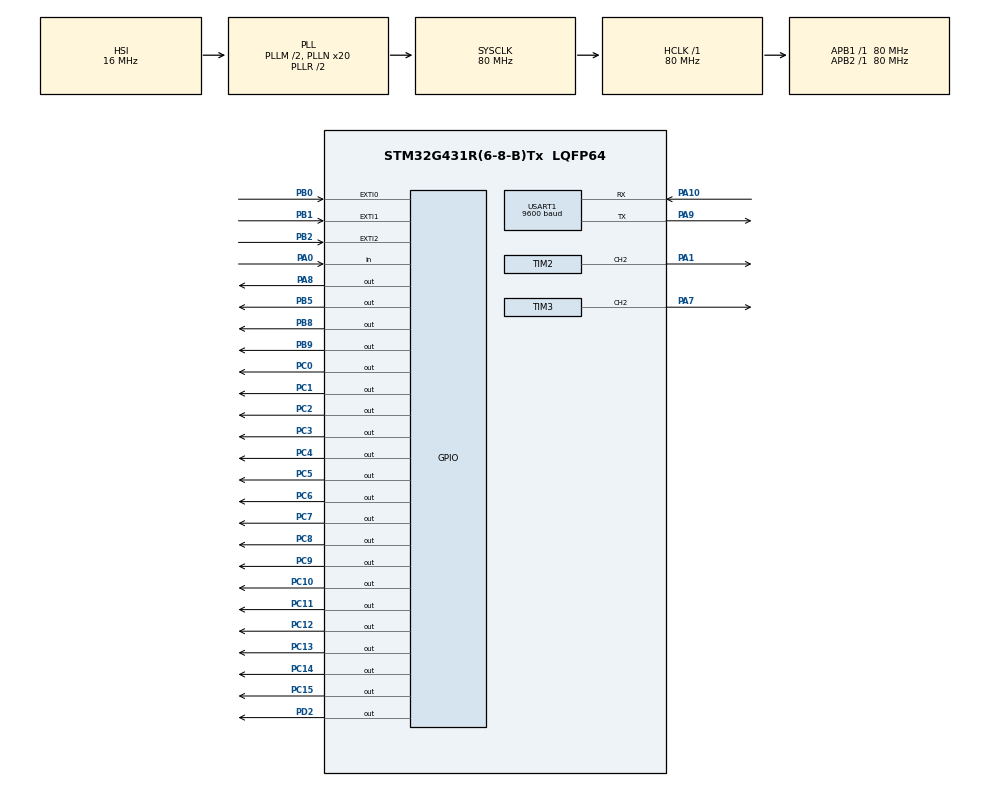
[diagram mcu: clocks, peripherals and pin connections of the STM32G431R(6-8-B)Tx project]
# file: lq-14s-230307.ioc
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Dma.Request0=USART1_RX
Dma.USART1_RX.0.Direction=DMA_PERIPH_TO_MEMORY
Dma.USART1_RX.0.EventEnable=DISABLE
Dma.USART1_RX.0.Instance=DMA1_Channel1
Dma.USART1_RX.0.MemDataAlignment=DMA_MDATAALIGN_BYTE
Dma.USART1_RX.0.MemInc=DMA_MINC_ENABLE
Dma.USART1_RX.0.Mode=DMA_NORMAL
Dma.USART1_RX.0.PeriphDataAlignment=DMA_PDATAALIGN_BYTE
Dma.USART1_RX.0.PeriphInc=DMA_PINC_DISABLE
Dma.USART1_RX.0.Polarity=HAL_DMAMUX_REQ_GEN_RISING
Dma.USART1_RX.0.Priority=DMA_PRIORITY_LOW
Dma.USART1_RX.0.RequestNumber=1
Dma.USART1_RX.0.SignalID=NONE
Dma.USART1_RX.0.SyncEnable=DISABLE
Dma.USART1_RX.0.SyncPolarity=HAL_DMAMUX_SYNC_NO_EVENT
Dma.USART1_RX.0.SyncRequestNumber=1
Dma.USART1_RX.0.SyncSignalID=NONE
Mcu.Family=STM32G4
Mcu.Name=STM32G431R(6-8-B)Tx
Mcu.Package=LQFP64
NVIC.DMA1_Channel1_IRQn=true\:0\:0\:false\:false\:true\:false\:true\:true
NVIC.EXTI0_IRQn=true\:2\:0\:true\:false\:true\:true\:true\:true
NVIC.EXTI1_IRQn=true\:2\:0\:true\:false\:true\:true\:true\:true
NVIC.EXTI2_IRQn=true\:2\:0\:true\:false\:true\:true\:true\:true
NVIC.PriorityGroup=NVIC_PRIORITYGROUP_4
NVIC.USART1_IRQn=true\:0\:0\:false\:false\:true\:true\:true\:true
PA0.Signal=GPIO_Input
PA1.Signal=S_TIM2_CH2
PA10.Mode=Asynchronous
PA10.Signal=USART1_RX
PA7.Signal=S_TIM3_CH2
PA8.Signal=GPIO_Output
PA9.Mode=Asynchronous
PA9.Signal=USART1_TX
PB0.Signal=GPXTI0
PB1.Signal=GPXTI1
PB2.Signal=GPXTI2
PB5.Signal=GPIO_Output
PB8-BOOT0.Signal=GPIO_Output
PB9.Signal=GPIO_Output
PC0.Signal=GPIO_Output
PC1.Signal=GPIO_Output
PC10.Signal=GPIO_Output
PC11.Signal=GPIO_Output
PC12.Signal=GPIO_Output
PC13.Signal=GPIO_Output
PC14-OSC32_IN.Signal=GPIO_Output
PC15-OSC32_OUT.Signal=GPIO_Output
PC2.Signal=GPIO_Output
PC3.Signal=GPIO_Output
PC4.Signal=GPIO_Output
PC5.Signal=GPIO_Output
PC6.Signal=GPIO_Output
PC7.Signal=GPIO_Output
PC8.Signal=GPIO_Output
PC9.Signal=GPIO_Output
PD2.Signal=GPIO_Output
PF0-OSC_IN.Mode=HSE-External-Oscillator
PF0-OSC_IN.Signal=RCC_OSC_IN
PF1-OSC_OUT.Mode=HSE-External-Oscillator
PF1-OSC_OUT.Signal=RCC_OSC_OUT
ProjectManager.HeapSize=0x200
ProjectManager.StackSize=0x400
ProjectManager.TargetToolchain=MDK-ARM V5.27
RCC.ADC12Freq_Value=80000000
RCC.AHBFreq_Value=80000000
RCC.APB1Freq_Value=80000000
RCC.APB1TimFreq_Value=80000000
RCC.APB2Freq_Value=80000000
RCC.APB2TimFreq_Value=80000000
RCC.CortexFreq_Value=80000000
RCC.EXTERNAL_CLOCK_VALUE=12288000
RCC.HCLKFreq_Value=80000000
RCC.HSE_VALUE=24000000
RCC.HSI48_VALUE=48000000
RCC.HSI_VALUE=16000000
RCC.LSE_VALUE=32768
RCC.PLLM=RCC_PLLM_DIV2
RCC.PLLN=20
RCC.SYSCLKFreq_VALUE=80000000
RCC.SYSCLKSource=RCC_SYSCLKSOURCE_PLLCLK
RCC.USBFreq_Value=80000000
RCC.VCOOutputFreq_Value=160000000
SH.S_TIM2_CH2.0=TIM2_CH2,PWM Generation2 CH2
SH.S_TIM3_CH2.0=TIM3_CH2,PWM Generation2 CH2
TIM2.AutoReloadPreload=TIM_AUTORELOAD_PRELOAD_ENABLE
TIM2.Channel-PWM\ Generation2\ CH2=TIM_CHANNEL_2
TIM2.PeriodNoDither=999
TIM2.Prescaler=79
TIM2.PulseNoDither_2=99
TIM3.AutoReloadPreload=TIM_AUTORELOAD_PRELOAD_ENABLE
TIM3.Channel-PWM\ Generation2\ CH2=TIM_CHANNEL_2
TIM3.PeriodNoDither=999
TIM3.Prescaler=79
TIM3.PulseNoDither_2=99
USART1.BaudRate=9600
USART1.VirtualMode-Asynchronous=VM_ASYNC
VP_SYS_VS_DBSignals.Mode=DisableDeadBatterySignals
VP_TIM2_VS_ClockSourceINT.Mode=Internal
VP_TIM3_VS_ClockSourceINT.Mode=Internal
board=custom

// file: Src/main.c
/* USER CODE BEGIN Header */
/**
  ******************************************************************************
  * @file		   : main.c
  * @brief		  : Main program body
  ******************************************************************************
  * @attention
  *
  * Copyright (c) 2023 STMicroelectronics.
  * All rights reserved.
  *
  * This software is licensed under terms that can be found in the LICENSE file
  * in the root directory of this software component.
  * If no LICENSE file comes with this software, it is provided AS-IS.
  *
  ******************************************************************************
  */
/* USER CODE END Header */
#include "main.h"
#include "dma.h"
#include "tim.h"
#include "usart.h"
#include "gpio.h"

/* USER CODE BEGIN Includes */
#include <stdio.h>
#include <stdbool.h>
#include <stdarg.h>
#include <stdlib.h>
#include <string.h>
#include "lcd.h"
/* USER CODE END Includes */

/* USER CODE BEGIN PM */
#define lds(x, s) \
	HAL_GPIO_WritePin(GPIOC, 0x0080 << x, s); \
	HAL_GPIO_WritePin(GPIOD, GPIO_PIN_2, GPIO_PIN_SET); \
	HAL_GPIO_WritePin(GPIOD, GPIO_PIN_2, GPIO_PIN_RESET)

#define psetf(f_kHz) \
	__HAL_TIM_SetAutoreload((pin7) ? &htim3 : &htim2, 1000 / f_kHz)

#define psetd(dx10) \
	__HAL_TIM_SetCompare((pin7) ? &htim3 : &htim2, TIM_CHANNEL_2, __HAL_TIM_GetAutoreload((pin7) ? &htim3 : &htim2) * dx10 / 10)

#define dsp(ln, str) \
	LCD_DisplayStringLine(ln * 24, (uint8_t *)str);

/* USER CODE END PM */

/* USER CODE BEGIN PV */
bool 		serial	= false;
bool	 	pin7	= false;
uint8_t 	buf[32]	= {0};
uint8_t		rxBuf	= 0;
uint8_t		f1		= 1;
uint8_t		f7		= 1;
uint8_t 	d1		= 1;
uint8_t		d7		= 1;
uint32_t	b4		= 0xFFFFFFFF;

/* USER CODE END PV */

void SystemClock_Config(void);
/* USER CODE BEGIN PFP */
void render();
void dspf(uint8_t ln, char *fmt, ...);
/* USER CODE END PFP */

int main(void)
{

  /* MCU Configuration--------------------------------------------------------*/

  /* Reset of all peripherals, Initializes the Flash interface and the Systick. */
  HAL_Init();

  /* Configure the system clock */
  SystemClock_Config();

  /* Initialize all configured peripherals */
  MX_GPIO_Init();
  MX_DMA_Init();
  MX_TIM2_Init();
  MX_TIM3_Init();
  MX_USART1_UART_Init();
  /* USER CODE BEGIN 2 */

	lds(1, 0);
	lds(2, 0);
	lds(3, 0);
	lds(4, 0);
	lds(5, 0);
	lds(6, 0);
	lds(7, 0);
	lds(8, 0);

	HAL_TIM_PWM_Start(&htim2, TIM_CHANNEL_2);
	HAL_TIM_PWM_Start(&htim3, TIM_CHANNEL_2);

	HAL_UART_Receive_DMA(&huart1, &rxBuf, 1);

	LCD_Init();
	LCD_SetBackColor(Black);
	LCD_SetTextColor(White);
	render();

	//printf("Init complete!\n");

  /* USER CODE END 2 */

  /* Infinite loop */
  /* USER CODE BEGIN WHILE */
  static bool	b4dwn = true;
  while (1)
  {
	  //__ASM("BKPT 0xAB");
	  //dspf(7, "%d", b4dwn);
	  if(b4dwn && !b4) {
		  b4dwn = false;
		  serial = !serial;
	  }
	  else b4dwn |= !~b4;
    /* USER CODE END WHILE */

  }
}

void SystemClock_Config(void)
{
  RCC_OscInitTypeDef RCC_OscInitStruct = {0};
  RCC_ClkInitTypeDef RCC_ClkInitStruct = {0};

  /** Configure the main internal regulator output voltage
  */
  HAL_PWREx_ControlVoltageScaling(PWR_REGULATOR_VOLTAGE_SCALE1);

  /** Initializes the RCC Oscillators according to the specified parameters
  * in the RCC_OscInitTypeDef structure.
  */
  RCC_OscInitStruct.OscillatorType = RCC_OSCILLATORTYPE_HSI;
  RCC_OscInitStruct.HSIState = RCC_HSI_ON;
  RCC_OscInitStruct.HSICalibrationValue = RCC_HSICALIBRATION_DEFAULT;
  RCC_OscInitStruct.PLL.PLLState = RCC_PLL_ON;
  RCC_OscInitStruct.PLL.PLLSource = RCC_PLLSOURCE_HSI;
  RCC_OscInitStruct.PLL.PLLM = RCC_PLLM_DIV2;
  RCC_OscInitStruct.PLL.PLLN = 20;
  RCC_OscInitStruct.PLL.PLLP = RCC_PLLP_DIV2;
  RCC_OscInitStruct.PLL.PLLQ = RCC_PLLQ_DIV2;
  RCC_OscInitStruct.PLL.PLLR = RCC_PLLR_DIV2;
  if (HAL_RCC_OscConfig(&RCC_OscInitStruct) != HAL_OK)
  {
    Error_Handler();
  }

  /** Initializes the CPU, AHB and APB buses clocks
  */
  RCC_ClkInitStruct.ClockType = RCC_CLOCKTYPE_HCLK|RCC_CLOCKTYPE_SYSCLK
                              |RCC_CLOCKTYPE_PCLK1|RCC_CLOCKTYPE_PCLK2;
  RCC_ClkInitStruct.SYSCLKSource = RCC_SYSCLKSOURCE_PLLCLK;
  RCC_ClkInitStruct.AHBCLKDivider = RCC_SYSCLK_DIV1;
  RCC_ClkInitStruct.APB1CLKDivider = RCC_HCLK_DIV1;
  RCC_ClkInitStruct.APB2CLKDivider = RCC_HCLK_DIV1;

  if (HAL_RCC_ClockConfig(&RCC_ClkInitStruct, FLASH_LATENCY_2) != HAL_OK)
  {
    Error_Handler();
  }
}

/* USER CODE BEGIN 4 */

void HAL_UART_RxCpltCallback(UART_HandleTypeDef *huart) {
	if(!serial) {
		printf("KEY CONTROL\n");
		HAL_UART_Receive_DMA(&huart1, &rxBuf, 1);
		return;
	}
	if(rxBuf == '@') {
		pin7 = false;
		render();
	}
	else if(rxBuf == '#') {
		pin7 = true;
		render();
	}
	else printf("ERROR\n");
	HAL_UART_Receive_DMA(&huart1, &rxBuf, 1);
}

void HAL_GPIO_EXTI_Callback(uint16_t pin) {
	switch(pin) {
		case 0x0001:
			HAL_Delay(64);
			if(HAL_GPIO_ReadPin(GPIOB, pin) == GPIO_PIN_RESET) return;
			if(pin7 && ++f7 == 11) {
				f7 = 1;
				psetf(f7);
			}
			if(!pin7 && ++f1 == 11) {
				f1 = 1;
				psetf(f1);
			}
			psetf(((pin7) ? f7 : f1));
			psetd(((pin7) ? d7 : d1));
			dspf(4, "   F:%d000Hz   ", pin7 ? f7 : f1);
			break;
		case 0x0002:
			HAL_Delay(64);
			if(HAL_GPIO_ReadPin(GPIOB, pin) == GPIO_PIN_RESET) return;
			if(pin7 && ++d7 == 10) {
				d7 = 1;
			}
			if(!pin7 && ++d1 == 10) {
				d1 = 1;
			}
			psetd(((pin7) ? d7 : d1));
			dspf(5, "   D:%1d0%%   ", pin7 ? d7 : d1);
			break;
		case 0x0004:
			if(serial) return;
			HAL_Delay(64);
			if(HAL_GPIO_ReadPin(GPIOB, pin) == GPIO_PIN_RESET) return;
			pin7 = ! pin7;
			render();
			break;
	}
}

//void HAL_COMP_TriggerCallback(COMP_HandleTypeDef *hcomp) {
//	HAL_Delay(32);
//	if(HAL_COMP_GetOutputLevel(&hcomp3) == COMP_OUTPUT_LEVEL_HIGH) return;
//	serial = !serial;
//}

inline void dspf(uint8_t ln, char *fmt, ...) {
	va_list ap;
	va_start(ap, fmt);
	vsprintf((char *)buf, fmt, ap);
	va_end(ap);
	dsp(ln, buf);
}

inline void render() {
	LCD_Clear(Black);
	if(pin7) {
		dsp(2, "      PA7  ");
		dspf(4, "   F:%d000Hz   ", f7);
		dspf(5, "   D:%1d0%%   ", d7);
		return;
	}
	dsp(2, "      PA1  ");
	dspf(4, "   F:%d000Hz   ", f1);
	dspf(5, "   D:%1d0%%   ", d1);
}

int fputc(int ch, FILE *f) {
	HAL_UART_Transmit(&huart1, (const uint8_t *)&ch, 1, 0xFF);
	return ch;
}
/* USER CODE END 4 */

void Error_Handler(void)
{
  __disable_irq();
  while (1)
  {
  }
}
